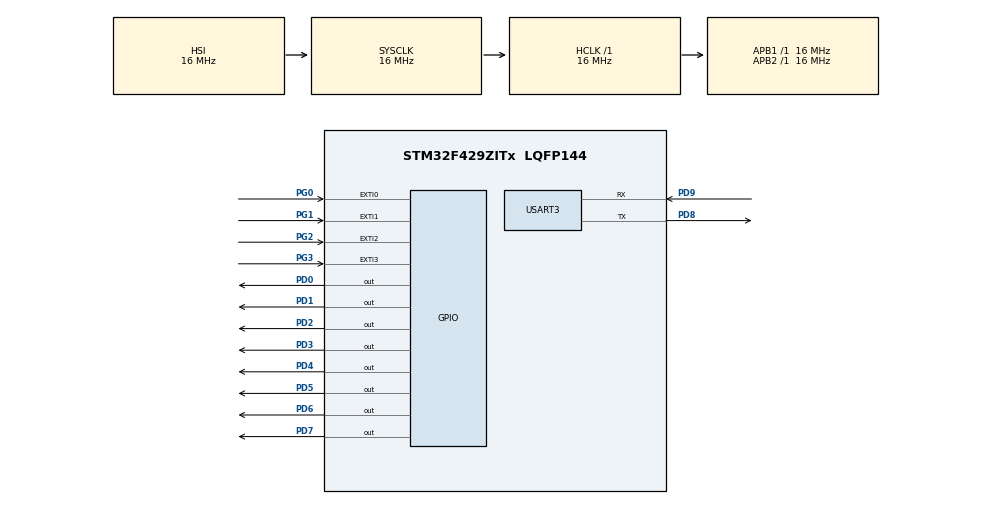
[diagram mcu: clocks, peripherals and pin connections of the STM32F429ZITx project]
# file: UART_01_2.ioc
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Mcu.Family=STM32F4
Mcu.Name=STM32F429ZITx
Mcu.Package=LQFP144
NVIC.EXTI0_IRQn=true\:0\:0\:false\:false\:true\:true\:true\:true
NVIC.EXTI1_IRQn=true\:0\:0\:false\:false\:true\:true\:true\:true
NVIC.EXTI2_IRQn=true\:0\:0\:false\:false\:true\:true\:true\:true
NVIC.EXTI3_IRQn=true\:0\:0\:false\:false\:true\:true\:true\:true
NVIC.PriorityGroup=NVIC_PRIORITYGROUP_4
NVIC.USART3_IRQn=true\:0\:0\:false\:false\:true\:true\:true\:true
PD0.GPIO_ModeDefaultOutputPP=GPIO_MODE_OUTPUT_PP
PD0.GPIO_PuPd=GPIO_PULLUP
PD0.GPIO_Speed=GPIO_SPEED_FREQ_HIGH
PD0.PinState=GPIO_PIN_RESET
PD0.Signal=GPIO_Output
PD1.GPIO_ModeDefaultOutputPP=GPIO_MODE_OUTPUT_PP
PD1.GPIO_PuPd=GPIO_PULLUP
PD1.GPIO_Speed=GPIO_SPEED_FREQ_HIGH
PD1.PinState=GPIO_PIN_RESET
PD1.Signal=GPIO_Output
PD2.GPIO_ModeDefaultOutputPP=GPIO_MODE_OUTPUT_PP
PD2.GPIO_PuPd=GPIO_PULLUP
PD2.GPIO_Speed=GPIO_SPEED_FREQ_HIGH
PD2.PinState=GPIO_PIN_RESET
PD2.Signal=GPIO_Output
PD3.GPIO_ModeDefaultOutputPP=GPIO_MODE_OUTPUT_PP
PD3.GPIO_PuPd=GPIO_PULLUP
PD3.GPIO_Speed=GPIO_SPEED_FREQ_HIGH
PD3.PinState=GPIO_PIN_RESET
PD3.Signal=GPIO_Output
PD4.GPIO_ModeDefaultOutputPP=GPIO_MODE_OUTPUT_PP
PD4.GPIO_PuPd=GPIO_PULLUP
PD4.GPIO_Speed=GPIO_SPEED_FREQ_HIGH
PD4.PinState=GPIO_PIN_RESET
PD4.Signal=GPIO_Output
PD5.GPIO_ModeDefaultOutputPP=GPIO_MODE_OUTPUT_PP
PD5.GPIO_PuPd=GPIO_PULLUP
PD5.GPIO_Speed=GPIO_SPEED_FREQ_HIGH
PD5.PinState=GPIO_PIN_RESET
PD5.Signal=GPIO_Output
PD6.GPIO_ModeDefaultOutputPP=GPIO_MODE_OUTPUT_PP
PD6.GPIO_PuPd=GPIO_PULLUP
PD6.GPIO_Speed=GPIO_SPEED_FREQ_HIGH
PD6.PinState=GPIO_PIN_RESET
PD6.Signal=GPIO_Output
PD7.GPIO_ModeDefaultOutputPP=GPIO_MODE_OUTPUT_PP
PD7.GPIO_PuPd=GPIO_PULLUP
PD7.GPIO_Speed=GPIO_SPEED_FREQ_HIGH
PD7.PinState=GPIO_PIN_RESET
PD7.Signal=GPIO_Output
PD8.Mode=Asynchronous
PD8.Signal=USART3_TX
PD9.Mode=Asynchronous
PD9.Signal=USART3_RX
PG0.GPIO_ModeDefaultEXTI=GPIO_MODE_IT_FALLING
PG0.GPIO_PuPd=GPIO_NOPULL
PG0.Signal=GPXTI0
PG1.GPIO_ModeDefaultEXTI=GPIO_MODE_IT_FALLING
PG1.GPIO_PuPd=GPIO_NOPULL
PG1.Signal=GPXTI1
PG2.GPIO_ModeDefaultEXTI=GPIO_MODE_IT_FALLING
PG2.GPIO_PuPd=GPIO_NOPULL
PG2.Signal=GPXTI2
PG3.GPIO_ModeDefaultEXTI=GPIO_MODE_IT_FALLING
PG3.GPIO_PuPd=GPIO_NOPULL
PG3.Signal=GPXTI3
ProjectManager.HeapSize=0x200
ProjectManager.StackSize=0x400
ProjectManager.TargetToolchain=STM32CubeIDE
RCC.AHBFreq_Value=16000000
RCC.APB1Freq_Value=16000000
RCC.APB2Freq_Value=16000000
RCC.CortexFreq_Value=16000000
RCC.HSE_VALUE=25000000
RCC.HSI_VALUE=16000000
RCC.LSE_VALUE=32768
RCC.SYSCLKFreq_VALUE=16000000
RCC.VCOOutputFreq_Value=192000000
USART3.VirtualMode=VM_ASYNC
board=custom

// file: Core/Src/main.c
/* USER CODE BEGIN Header */
/**
  ******************************************************************************
  * @file           : main.c
  * @brief          : Main program body
  ******************************************************************************
  * @attention
  *
  * Copyright (c) 2022 STMicroelectronics.
  * All rights reserved.
  *
  * This software is licensed under terms that can be found in the LICENSE file
  * in the root directory of this software component.
  * If no LICENSE file comes with this software, it is provided AS-IS.
  *
  ******************************************************************************
  */
/* USER CODE END Header */
#include "main.h"

/* USER CODE BEGIN PD */
#define TxBufferSize	(countof(TxBuffer)-1)
#define TxBufferSize_2	(countof(TxBuffer_2)-1)
#define RxBufferSize	0xFF
#define countof(a)	(sizeof(a)/sizeof(*(a)))

/* USER CODE END PD */

UART_HandleTypeDef huart3;

/* USER CODE BEGIN PV */
uint8_t TxBuffer[] = "\n\rUART Plus Example_1_2 (Transmission Success) !! \n\r\n\r";
uint8_t TxBuffer_2[] = "\n\r Hello ~~ \n\r";
uint8_t RxBuffer[RxBufferSize];
/* USER CODE END PV */

void SystemClock_Config(void);
static void MX_GPIO_Init(void);
static void MX_USART3_UART_Init(void);
/* USER CODE BEGIN PFP */
void LED_OnOff(int, int);
int a = 0;
int i = 0;
/* USER CODE END PFP */

int main(void)
{

  /* MCU Configuration--------------------------------------------------------*/

  /* Reset of all peripherals, Initializes the Flash interface and the Systick. */
  HAL_Init();

  /* Configure the system clock */
  SystemClock_Config();

  /* Initialize all configured peripherals */
  MX_GPIO_Init();
  MX_USART3_UART_Init();
  /* USER CODE BEGIN 2 */
  LED_OnOff(LED_ALL, 500);
  HAL_UART_Transmit(&huart3, (uint8_t*)TxBuffer, TxBufferSize, 0xFFFF);

  /* USER CODE END 2 */

  /* Infinite loop */
  /* USER CODE BEGIN WHILE */
  while (1)
  {
	  if (a==1){
		  for(i=1; i<6;i++){
			  HAL_Delay(1000);
			  LED_OnOff(LED_ALL,100);
		  }
			HAL_UART_Transmit(&huart3, (uint8_t*)TxBuffer_2, TxBufferSize_2, 0xFFFF);

			a = 0;
	  }
    /* USER CODE END WHILE */

  }
}

void SystemClock_Config(void)
{
  RCC_OscInitTypeDef RCC_OscInitStruct = {0};
  RCC_ClkInitTypeDef RCC_ClkInitStruct = {0};

  /** Configure the main internal regulator output voltage
  */
  __HAL_RCC_PWR_CLK_ENABLE();
  __HAL_PWR_VOLTAGESCALING_CONFIG(PWR_REGULATOR_VOLTAGE_SCALE3);

  /** Initializes the RCC Oscillators according to the specified parameters
  * in the RCC_OscInitTypeDef structure.
  */
  RCC_OscInitStruct.OscillatorType = RCC_OSCILLATORTYPE_HSI;
  RCC_OscInitStruct.HSIState = RCC_HSI_ON;
  RCC_OscInitStruct.HSICalibrationValue = RCC_HSICALIBRATION_DEFAULT;
  RCC_OscInitStruct.PLL.PLLState = RCC_PLL_NONE;
  if (HAL_RCC_OscConfig(&RCC_OscInitStruct) != HAL_OK)
  {
    Error_Handler();
  }

  /** Initializes the CPU, AHB and APB buses clocks
  */
  RCC_ClkInitStruct.ClockType = RCC_CLOCKTYPE_HCLK|RCC_CLOCKTYPE_SYSCLK
                              |RCC_CLOCKTYPE_PCLK1|RCC_CLOCKTYPE_PCLK2;
  RCC_ClkInitStruct.SYSCLKSource = RCC_SYSCLKSOURCE_HSI;
  RCC_ClkInitStruct.AHBCLKDivider = RCC_SYSCLK_DIV1;
  RCC_ClkInitStruct.APB1CLKDivider = RCC_HCLK_DIV1;
  RCC_ClkInitStruct.APB2CLKDivider = RCC_HCLK_DIV1;

  if (HAL_RCC_ClockConfig(&RCC_ClkInitStruct, FLASH_LATENCY_0) != HAL_OK)
  {
    Error_Handler();
  }
}

static void MX_USART3_UART_Init(void)
{

  huart3.Instance = USART3;
  huart3.Init.BaudRate = 115200;
  huart3.Init.WordLength = UART_WORDLENGTH_8B;
  huart3.Init.StopBits = UART_STOPBITS_1;
  huart3.Init.Parity = UART_PARITY_NONE;
  huart3.Init.Mode = UART_MODE_TX_RX;
  huart3.Init.HwFlowCtl = UART_HWCONTROL_NONE;
  huart3.Init.OverSampling = UART_OVERSAMPLING_16;
  if (HAL_UART_Init(&huart3) != HAL_OK)
  {
    Error_Handler();
  }

}

static void MX_GPIO_Init(void)
{
  GPIO_InitTypeDef GPIO_InitStruct = {0};

  /* GPIO Ports Clock Enable */
  __HAL_RCC_GPIOG_CLK_ENABLE();
  __HAL_RCC_GPIOD_CLK_ENABLE();

  /*Configure GPIO pin Output Level */
  HAL_GPIO_WritePin(GPIOD, GPIO_PIN_0|GPIO_PIN_1|GPIO_PIN_2|GPIO_PIN_3
                          |GPIO_PIN_4|GPIO_PIN_5|GPIO_PIN_6|GPIO_PIN_7, GPIO_PIN_RESET);

  /*Configure GPIO pins : PG0 PG1 PG2 PG3 */
  GPIO_InitStruct.Pin = GPIO_PIN_0|GPIO_PIN_1|GPIO_PIN_2|GPIO_PIN_3;
  GPIO_InitStruct.Mode = GPIO_MODE_IT_FALLING;
  GPIO_InitStruct.Pull = GPIO_NOPULL;
  HAL_GPIO_Init(GPIOG, &GPIO_InitStruct);

  /*Configure GPIO pins : PD0 PD1 PD2 PD3
                           PD4 PD5 PD6 PD7 */
  GPIO_InitStruct.Pin = GPIO_PIN_0|GPIO_PIN_1|GPIO_PIN_2|GPIO_PIN_3
                          |GPIO_PIN_4|GPIO_PIN_5|GPIO_PIN_6|GPIO_PIN_7;
  GPIO_InitStruct.Mode = GPIO_MODE_OUTPUT_PP;
  GPIO_InitStruct.Pull = GPIO_PULLUP;
  GPIO_InitStruct.Speed = GPIO_SPEED_FREQ_HIGH;
  HAL_GPIO_Init(GPIOD, &GPIO_InitStruct);

  /* EXTI interrupt init*/
  HAL_NVIC_SetPriority(EXTI0_IRQn, 0, 0);
  HAL_NVIC_EnableIRQ(EXTI0_IRQn);

  HAL_NVIC_SetPriority(EXTI1_IRQn, 0, 0);
  HAL_NVIC_EnableIRQ(EXTI1_IRQn);

  HAL_NVIC_SetPriority(EXTI2_IRQn, 0, 0);
  HAL_NVIC_EnableIRQ(EXTI2_IRQn);

  HAL_NVIC_SetPriority(EXTI3_IRQn, 0, 0);
  HAL_NVIC_EnableIRQ(EXTI3_IRQn);

}

/* USER CODE BEGIN 4 */
void LED_OnOff(int led, int interval)
{
	HAL_GPIO_WritePin(GPIO_LED, led, GPIO_PIN_SET);
	HAL_GPIO_WritePin(GPIO_LED_Nucleo, led, GPIO_PIN_SET);
	HAL_Delay(interval);
	HAL_GPIO_WritePin(GPIO_LED, led, GPIO_PIN_RESET);
	HAL_GPIO_WritePin(GPIO_LED_Nucleo, led, GPIO_PIN_RESET);
}
void HAL_GPIO_EXTI_Callback(uint16_t GPIO_Pin)
{
	switch(GPIO_Pin)
	{
	case GPIO_PIN_1:
		a=1;
		//break;
	}
}
/* USER CODE END 4 */

void Error_Handler(void)
{
  __disable_irq();
  while (1)
  {
  }
}
